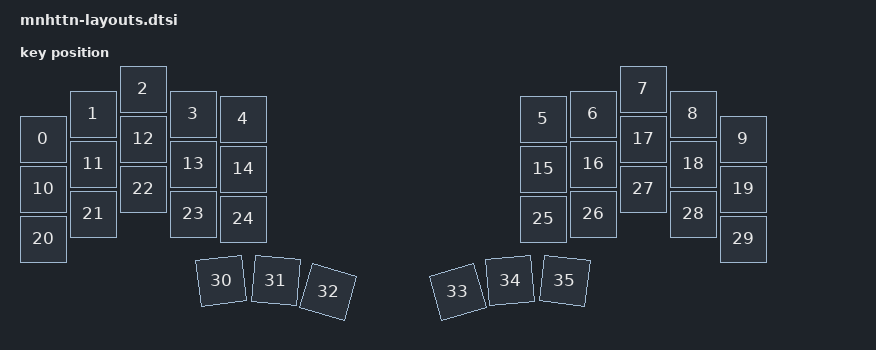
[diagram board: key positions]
/*
 * Copyright (c) 2026 The ZMK Contributors
 *
 * SPDX-License-Identifier: MIT
 */

#include <physical_layouts.dtsi>

/ {
    // Approximate column-stagger positions (not measured from the physical
    // board); adjust rx/ry/x/y below if these don't match your build.
    physical_layout0: physical_layout_0 {
        compatible = "zmk,physical-layout";
        display-name = "Default Layout";

        keys  //                     w   h    x    y     rot    rx    ry
            = <&key_physical_attrs 100 100    0  100       0     0     0>  // RC(0,0)
            , <&key_physical_attrs 100 100  100   50       0     0     0>  // RC(0,1)
            , <&key_physical_attrs 100 100  200    0       0     0     0>  // RC(0,2)
            , <&key_physical_attrs 100 100  300   50       0     0     0>  // RC(0,3)
            , <&key_physical_attrs 100 100  400   60       0     0     0>  // RC(0,4)
            , <&key_physical_attrs 100 100 1000   60       0     0     0>  // RC(0,5)
            , <&key_physical_attrs 100 100 1100   50       0     0     0>  // RC(0,6)
            , <&key_physical_attrs 100 100 1200    0       0     0     0>  // RC(0,7)
            , <&key_physical_attrs 100 100 1300   50       0     0     0>  // RC(0,8)
            , <&key_physical_attrs 100 100 1400  100       0     0     0>  // RC(0,9)

            , <&key_physical_attrs 100 100    0  200       0     0     0>  // RC(1,0)
            , <&key_physical_attrs 100 100  100  150       0     0     0>  // RC(1,1)
            , <&key_physical_attrs 100 100  200  100       0     0     0>  // RC(1,2)
            , <&key_physical_attrs 100 100  300  150       0     0     0>  // RC(1,3)
            , <&key_physical_attrs 100 100  400  160       0     0     0>  // RC(1,4)
            , <&key_physical_attrs 100 100 1000  160       0     0     0>  // RC(1,5)
            , <&key_physical_attrs 100 100 1100  150       0     0     0>  // RC(1,6)
            , <&key_physical_attrs 100 100 1200  100       0     0     0>  // RC(1,7)
            , <&key_physical_attrs 100 100 1300  150       0     0     0>  // RC(1,8)
            , <&key_physical_attrs 100 100 1400  200       0     0     0>  // RC(1,9)

            , <&key_physical_attrs 100 100    0  300       0     0     0>  // RC(2,0)
            , <&key_physical_attrs 100 100  100  250       0     0     0>  // RC(2,1)
            , <&key_physical_attrs 100 100  200  200       0     0     0>  // RC(2,2)
            , <&key_physical_attrs 100 100  300  250       0     0     0>  // RC(2,3)
            , <&key_physical_attrs 100 100  400  260       0     0     0>  // RC(2,4)
            , <&key_physical_attrs 100 100 1000  260       0     0     0>  // RC(2,5)
            , <&key_physical_attrs 100 100 1100  250       0     0     0>  // RC(2,6)
            , <&key_physical_attrs 100 100 1200  200       0     0     0>  // RC(2,7)
            , <&key_physical_attrs 100 100 1300  250       0     0     0>  // RC(2,8)
            , <&key_physical_attrs 100 100 1400  300       0     0     0>  // RC(2,9)

            , <&key_physical_attrs 100 100  350  375  (-700)   475   375>  // RC(3,2)
            , <&key_physical_attrs 100 100  475  375     500   425   325>  // RC(3,3)
            , <&key_physical_attrs 100 100  610  375    1600   530   300>  // RC(3,4)
            , <&key_physical_attrs 100 100  790  375 (-1600)   970   300>  // RC(3,5)
            , <&key_physical_attrs 100 100  925  375  (-500)  1075   325>  // RC(3,6)
            , <&key_physical_attrs 100 100 1050  375     700  1025   375>  // RC(3,7)
            ;
    };
};
